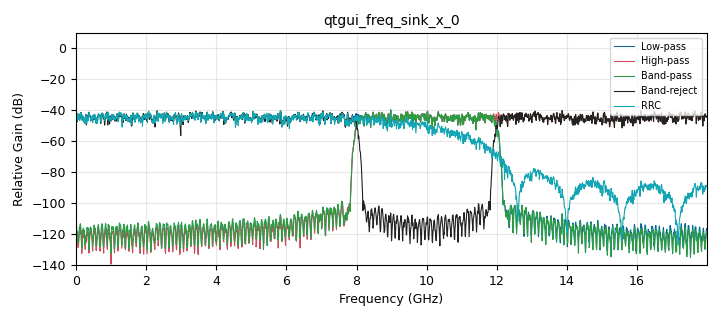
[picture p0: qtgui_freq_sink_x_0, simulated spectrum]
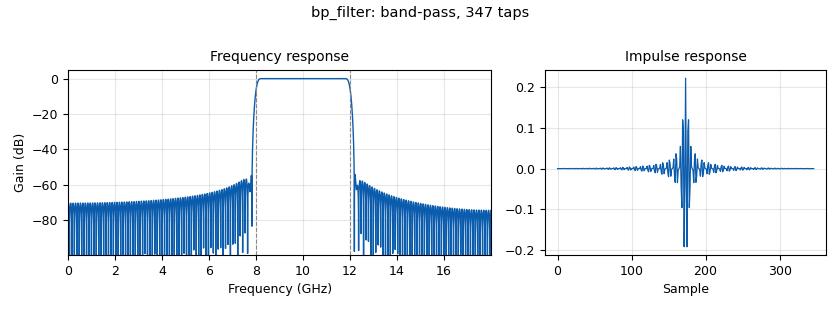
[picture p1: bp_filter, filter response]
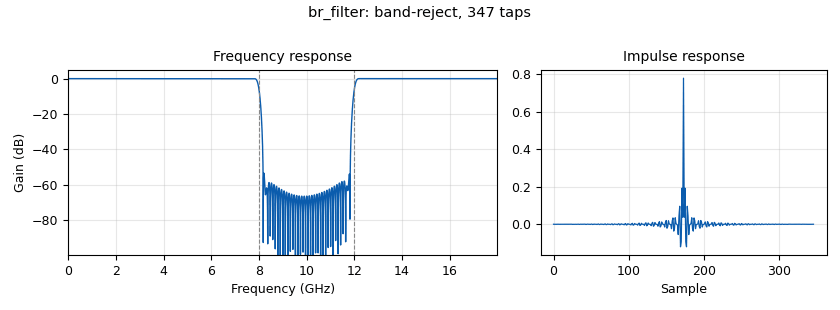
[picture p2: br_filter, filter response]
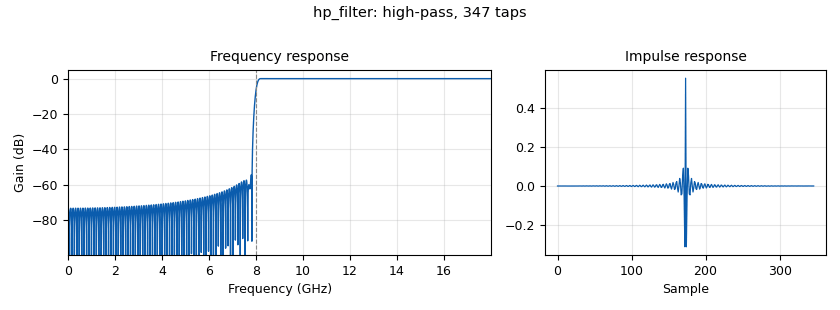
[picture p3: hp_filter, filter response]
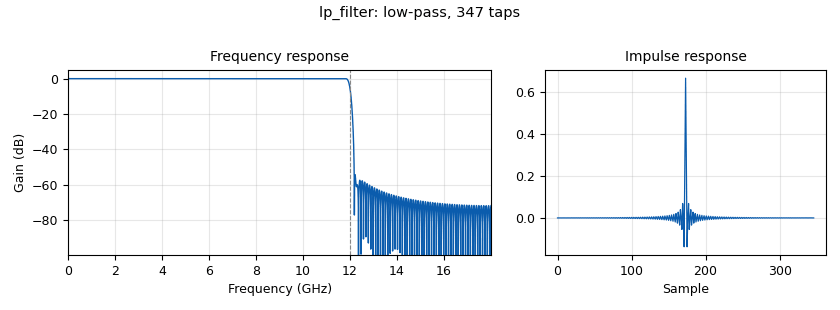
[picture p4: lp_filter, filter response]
options:
  parameters:
    author: YD3BRB
    category: Custom
    description: Modified from https://wiki.gnuradio.org/index.php/Band-reject_Filter_Taps
    generate_options: qt_gui
    id: xband_filter_taps
    output_language: python
    title: X-BAND FIR Filter Demo
  states: {}

blocks:
- name: bp_high
  id: variable
  parameters:
    value: '12000000000'
  states: {}
- name: bp_low
  id: variable
  parameters:
    value: '8000000000'
  states: {}
- name: bp_taps
  id: variable_band_pass_filter_taps
  parameters:
    gain: '1.0'
    high_cutoff_freq: bp_high
    low_cutoff_freq: bp_low
    samp_rate: samp_rate
    type: band_pass
    width: transition
    win: window.WIN_HAMMING
  states: {}
- name: br_taps
  id: variable_band_reject_filter_taps
  parameters:
    gain: '1.0'
    high_cutoff_freq: bp_high
    low_cutoff_freq: bp_low
    samp_rate: samp_rate
    type: band_reject
    width: transition
    win: window.WIN_HAMMING
  states: {}
- name: cutoff_high
  id: variable
  parameters:
    value: '12000000000'
  states: {}
- name: cutoff_low
  id: variable
  parameters:
    value: '8000000000'
  states: {}
- name: hp_taps
  id: variable_high_pass_filter_taps
  parameters:
    cutoff_freq: cutoff_low
    gain: '1.0'
    samp_rate: samp_rate
    width: transition
    win: window.WIN_HAMMING
  states: {}
- name: len_taps
  id: variable
  parameters:
    value: len(lp_taps)
  states: {}
- name: lp_taps
  id: variable_low_pass_filter_taps
  parameters:
    cutoff_freq: cutoff_high
    gain: '1.0'
    samp_rate: samp_rate
    width: transition
    win: window.WIN_HAMMING
  states: {}
- name: rrc_taps
  id: variable_rrc_filter_taps
  parameters:
    alpha: '0.35'
    gain: '1.0'
    ntaps: 11*sps
    samp_rate: samp_rate
    sym_rate: sym_rate
  states: {}
- name: samp_rate
  id: variable
  parameters:
    value: '36000000000'
  states: {}
- name: sps
  id: variable
  parameters:
    value: '2'
  states: {}
- name: sym_rate
  id: variable
  parameters:
    value: samp_rate/sps
  states: {}
- name: transition
  id: variable
  parameters:
    value: '250000000'
  states: {}
- name: tsp
  id: variable
  parameters:
    value: 1e6
  states: {}
- name: analog_fastnoise_source_x_0
  id: analog_fastnoise_source_x
  parameters:
    amp: '1'
    noise_type: analog.GR_GAUSSIAN
    samples: '8192'
    seed: '0'
    type: float
  states: {}
- name: blocks_throttle_0
  id: blocks_throttle
  parameters:
    samples_per_second: tsp
    type: float
  states: {}
- name: blocks_throttle_0_0
  id: blocks_throttle
  parameters:
    samples_per_second: tsp
    type: float
  states: {}
- name: blocks_throttle_0_1
  id: blocks_throttle
  parameters:
    samples_per_second: tsp
    type: float
  states: {}
- name: blocks_throttle_0_2
  id: blocks_throttle
  parameters:
    samples_per_second: tsp
    type: float
  states: {}
- name: blocks_throttle_0_3
  id: blocks_throttle
  parameters:
    samples_per_second: tsp
    type: float
  states: {}
- name: bp_filter
  id: fir_filter_xxx
  parameters:
    comment: Band-pass filter
    decim: '1'
    taps: bp_taps
    type: fff
  states: {}
- name: br_filter
  id: fir_filter_xxx
  parameters:
    comment: Band-reject filter
    decim: '1'
    taps: br_taps
    type: fff
  states: {}
- name: hp_filter
  id: fir_filter_xxx
  parameters:
    comment: High-pass filter
    decim: '1'
    taps: hp_taps
    type: fff
  states: {}
- name: lp_filter
  id: fir_filter_xxx
  parameters:
    comment: Low-pass filter
    decim: '1'
    taps: lp_taps
    type: fff
  states: {}
- name: qtgui_freq_sink_x_0
  id: qtgui_freq_sink_x
  parameters:
    alpha1: '0.9'
    alpha2: '0.9'
    alpha3: '0.9'
    alpha4: '0.9'
    alpha5: '0.9'
    average: '0.2'
    bw: samp_rate
    color4: '"cyan"'
    color5: '"magenta"'
    ctrlpanel: 'True'
    fc: '0'
    fftsize: '4096'
    freqhalf: 'False'
    grid: 'True'
    label1: Low-pass
    label2: High-pass
    label3: Band-pass
    label4: Band-reject
    label5: RRC
    nconnections: '5'
    showports: 'True'
    type: float
  states: {}
- name: rrc_filter
  id: fir_filter_xxx
  parameters:
    comment: RRC filter
    decim: '1'
    taps: rrc_taps
    type: fff
  states: {}

connections:
- [analog_fastnoise_source_x_0, '0', bp_filter, '0']
- [analog_fastnoise_source_x_0, '0', br_filter, '0']
- [analog_fastnoise_source_x_0, '0', hp_filter, '0']
- [analog_fastnoise_source_x_0, '0', lp_filter, '0']
- [analog_fastnoise_source_x_0, '0', rrc_filter, '0']
- [blocks_throttle_0, '0', qtgui_freq_sink_x_0, '0']
- [blocks_throttle_0_0, '0', qtgui_freq_sink_x_0, '1']
- [blocks_throttle_0_1, '0', qtgui_freq_sink_x_0, '2']
- [blocks_throttle_0_2, '0', qtgui_freq_sink_x_0, '3']
- [blocks_throttle_0_3, '0', qtgui_freq_sink_x_0, '4']
- [bp_filter, '0', blocks_throttle_0_1, '0']
- [br_filter, '0', blocks_throttle_0_2, '0']
- [hp_filter, '0', blocks_throttle_0_0, '0']
- [lp_filter, '0', blocks_throttle_0, '0']
- [rrc_filter, '0', blocks_throttle_0_3, '0']

metadata:
  file_format: 1
  grc_version: 3.10.4.0
